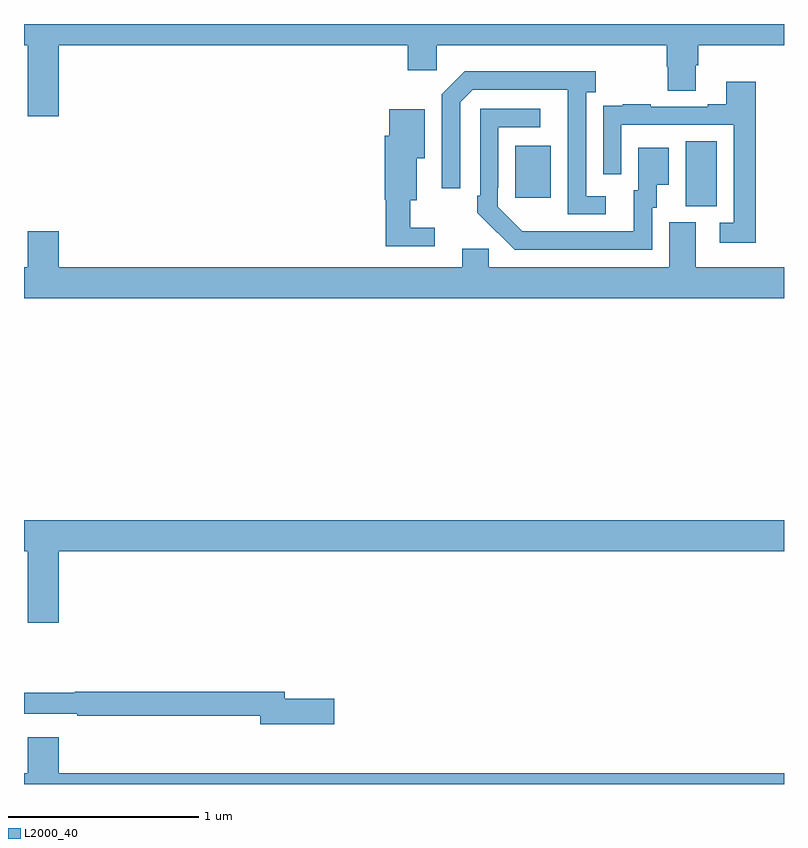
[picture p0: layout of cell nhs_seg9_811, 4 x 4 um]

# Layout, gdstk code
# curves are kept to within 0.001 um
import gdstk
lib = gdstk.Library(unit=1e-6, precision=1e-09)
def R(c, l, rs):  # rectangles x0, y0, x1, y1
    for r in rs: c.add(gdstk.rectangle(r[:2], r[2:], *l))
def P(c, l, *ps):  # polygons
    for p in ps: c.add(gdstk.Polygon(p, *l))
L2000_40 = (2000, 40)

nhs_seg9_811 = lib.new_cell('nhs_seg9_811')
R(nhs_seg9_811, L2000_40, [(156.482,1227.541,156.646,1227.884), (155.585,1227.585,155.773,1227.859)])
P(nhs_seg9_811, L2000_40, [(153.184,1228.388),(155.021,1228.388),(155.021,1228.257),(155.172,1228.257),(155.172,1228.388),(156.383,1228.388),(156.383,1228.275),(156.388,1228.275),(156.388,1228.15),(156.535,1228.15),(156.535,1228.282),(156.548,1228.282),(156.548,1228.388),(157,1228.388),(157,1228.5),(153,1228.5),(153,1228.388),(153.02,1228.388),(153.02,1228.014),(153.184,1228.014)],
  [(156.061,1227.594),(155.958,1227.594),(155.958,1228.142),(156.01,1228.142),(156.01,1228.252),(155.32,1228.252),(155.199,1228.131),(155.199,1227.636),(155.295,1227.636),(155.295,1228.089),(155.361,1228.155),(155.861,1228.155),(155.862,1227.498),(156.061,1227.498)],
  [(156.851,1228.195),(156.695,1228.195),(156.695,1228.078),(156.599,1228.078),(156.599,1228.065),(156.299,1228.065),(156.299,1228.078),(156.151,1228.078),(156.151,1228.071),(156.049,1228.071),(156.049,1227.962),(156.048,1227.962),(156.048,1227.708),(156.144,1227.708),(156.144,1227.969),(156.735,1227.969),(156.735,1227.453),(156.663,1227.453),(156.663,1227.348),(156.851,1227.348)],
  [(156.306,1227.534),(156.331,1227.534),(156.331,1227.653),(156.394,1227.653),(156.394,1227.85),(156.233,1227.85),(156.233,1227.624),(156.209,1227.624),(156.209,1227.408),(155.622,1227.409),(155.493,1227.537),(155.493,1227.637),(155.496,1227.637),(155.496,1227.957),(155.716,1227.957),(155.716,1228.053),(155.4,1228.053),(155.4,1227.595),(155.385,1227.595),(155.385,1227.507),(155.582,1227.312),(156.306,1227.312)],
  [(155.161,1227.427),(155.032,1227.427),(155.032,1227.572),(155.068,1227.572),(155.068,1227.794),(155.11,1227.794),(155.11,1228.051),(154.922,1228.051),(154.922,1227.912),(154.898,1227.912),(154.898,1227.576),(154.903,1227.576),(154.903,1227.33),(155.161,1227.33)],
  [(157,1227.22),(156.535,1227.22),(156.535,1227.456),(156.395,1227.456),(156.395,1227.22),(155.445,1227.22),(155.445,1227.318),(155.306,1227.318),(155.306,1227.22),(153.184,1227.22),(153.184,1227.409),(153.02,1227.409),(153.02,1227.22),(153,1227.22),(153,1227.056),(157,1227.056)],
  [(153.184,1225.724),(157,1225.724),(157,1225.888),(153,1225.888),(153,1225.724),(153.02,1225.724),(153.02,1225.35),(153.184,1225.35)],
  [(154.633,1224.95),(154.372,1224.95),(154.372,1224.986),(153.268,1224.986),(153.268,1224.979),(153,1224.979),(153,1224.87),(153.28,1224.87),(153.28,1224.858),(154.244,1224.858),(154.244,1224.815),(154.633,1224.815)],
  [(157,1224.556),(153.184,1224.556),(153.184,1224.745),(153.02,1224.745),(153.02,1224.556),(153,1224.556),(153,1224.5),(157,1224.5)])

lib.write_gds('nhs_seg9_811.gds')
